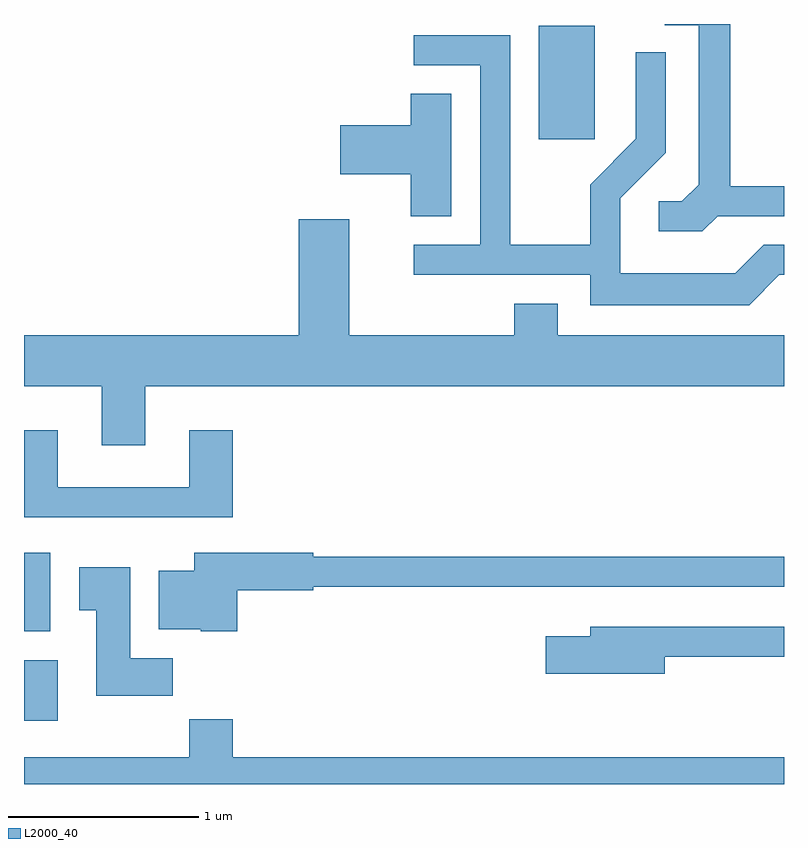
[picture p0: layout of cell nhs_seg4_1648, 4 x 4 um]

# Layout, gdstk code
import gdstk
lib = gdstk.Library(unit=1e-6, precision=1e-09)
def R(c, l, rs):  # rectangles x0, y0, x1, y1
    for r in rs: c.add(gdstk.rectangle(r[:2], r[2:], *l))
def P(c, l, *ps):  # polygons
    for p in ps: c.add(gdstk.Polygon(p, *l))
L2000_40 = (2000, 40)

nhs_seg4_1648 = lib.new_cell('nhs_seg4_1648')
R(nhs_seg4_1648, L2000_40, [(233.611,1286.316,233.789,1286.634), (233.611,1286.786,233.749,1287.199), (236.321,1289.376,236.614,1289.974)])
P(nhs_seg4_1648, L2000_40, [(237.262,1288.971),(237.611,1288.971),(237.611,1289.129),(237.329,1289.129),(237.329,1289.982),(236.983,1289.982),(236.983,1289.976),(237.161,1289.976),(237.161,1289.137),(237.074,1289.049),(236.953,1289.049),(236.953,1288.891),(237.182,1288.891)],
  [(237.587,1288.661),(237.611,1288.661),(237.611,1288.819),(237.504,1288.819),(237.354,1288.669),(236.749,1288.669),(236.749,1289.064),(236.989,1289.304),(236.989,1289.833),(236.831,1289.833),(236.831,1289.377),(236.591,1289.137),(236.591,1288.819),(236.169,1288.819),(236.169,1289.924),(235.663,1289.924),(235.663,1289.766),(236.011,1289.766),(236.011,1288.819),(235.663,1288.819),(235.663,1288.661),(236.591,1288.661),(236.591,1288.501),(237.427,1288.501)],
  [(235.859,1289.614),(235.646,1289.614),(235.646,1289.449),(235.276,1289.449),(235.276,1289.191),(235.646,1289.191),(235.646,1288.971),(235.859,1288.971)],
  [(234.249,1288.076),(237.611,1288.076),(237.611,1288.344),(236.419,1288.344),(236.419,1288.509),(236.191,1288.509),(236.191,1288.344),(235.324,1288.344),(235.324,1288.954),(235.056,1288.954),(235.056,1288.344),(233.611,1288.344),(233.611,1288.076),(234.021,1288.076),(234.021,1287.766),(234.249,1287.766)],
  [(234.709,1287.844),(234.481,1287.844),(234.481,1287.544),(233.789,1287.544),(233.789,1287.844),(233.611,1287.844),(233.611,1287.386),(234.709,1287.386)],
  [(234.734,1287.001),(235.134,1287.001),(235.134,1287.021),(237.611,1287.021),(237.611,1287.179),(235.134,1287.179),(235.134,1287.199),(234.506,1287.199),(234.506,1287.104),(234.321,1287.104),(234.321,1286.796),(234.54,1286.796),(234.54,1286.786),(234.734,1286.786)],
  [(234.394,1286.644),(234.169,1286.644),(234.169,1287.124),(233.901,1287.124),(233.901,1286.896),(233.991,1286.896),(233.991,1286.446),(234.394,1286.446)],
  [(236.984,1286.651),(237.611,1286.651),(237.611,1286.809),(236.591,1286.809),(236.591,1286.759),(236.356,1286.759),(236.356,1286.561),(236.984,1286.561)],
  [(237.611,1286.124),(234.709,1286.124),(234.709,1286.324),(234.481,1286.324),(234.481,1286.124),(233.611,1286.124),(233.611,1285.982),(237.611,1285.982)])

lib.write_gds('nhs_seg4_1648.gds')
